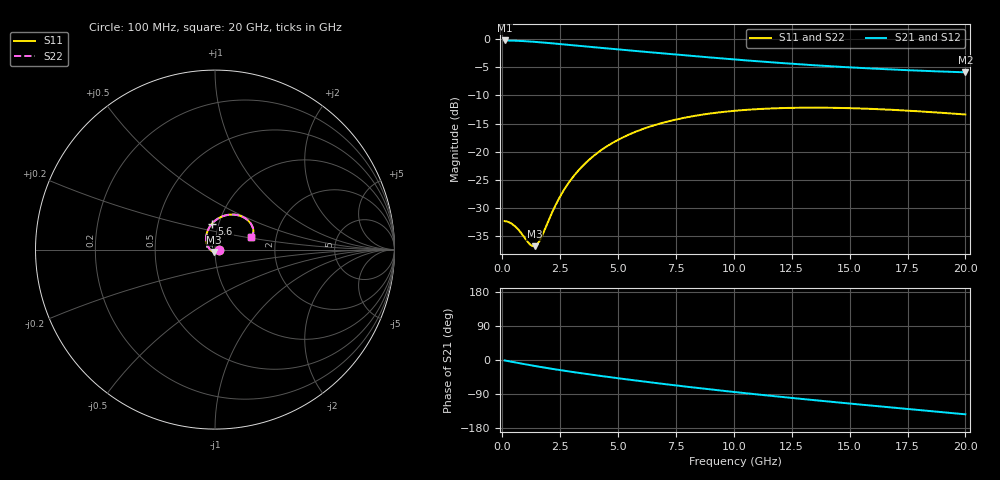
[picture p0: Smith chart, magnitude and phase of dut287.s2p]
! Created with skrf 1.9.0 (http://scikit-rf.org).
# GHz S RI R 50.0
!freq ReS11 ImS11 ReS21 ImS21 ReS12 ImS12 ReS22 ImS22
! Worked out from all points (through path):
!   200 points, 100 MHz to 20 GHz, reference 50 ohm
!   highest |S21| = -0.21 dB at 100 MHz (marker M1); lowest = -5.9 dB at 20 GHz (marker M2)
!   group delay of S21, straight-line fit = 19.1 ps
!   lowest |S11| = -36.8 dB at 1.4 GHz (marker M3), VSWR 1.03, Z = 49.5 - j1.35 ohm
!   |S11| at or under -10 dB: start of sweep to end of sweep
!   |S22| runs from -36.8 to -12.2 dB; largest |S21 - S12| = 2.4e-15
!   S11 on the Smith chart (normalised r, x): 100 MHz: 1.05, -0.01; 5.6 GHz: 0.93, +0.28; 20 GHz: 1.49, +0.22
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0.1  0.024 -0.00253  0.9755 -0.0193  0.9755 -0.0193  0.024 -0.00253
0.3  0.0227 -0.00615  0.9724 -0.0591  0.9724 -0.0591  0.0227 -0.00615
0.5  0.02 -0.00962  0.9667 -0.098  0.9667 -0.098  0.02 -0.00962
0.7  0.016 -0.0124  0.9584 -0.1358  0.9584 -0.1358  0.016 -0.0124
1.2  0.00184 -0.0149  0.928 -0.2245  0.928 -0.2245  0.00184 -0.0149
1.4  -0.00475 -0.0137  0.9127 -0.2572  0.9127 -0.2572  -0.00475 -0.0137
1.6  -0.0115 -0.0112  0.896 -0.2882  0.896 -0.2882  -0.0115 -0.0112
2.2  -0.0301 0.00339  0.8399 -0.3711  0.8399 -0.3711  -0.0301 0.00339
2.6  -0.0397 0.0178  0.7993 -0.4185  0.7993 -0.4185  -0.0397 0.0178
3  -0.0462 0.0346  0.7574 -0.4604  0.7574 -0.4604  -0.0462 0.0346
3.5  -0.0496 0.0574  0.704 -0.5059  0.704 -0.5059  -0.0496 0.0574
3.9  -0.0486 0.076  0.6608 -0.5375  0.6608 -0.5375  -0.0486 0.076
4.4  -0.0433 0.0986  0.6067 -0.5715  0.6067 -0.5715  -0.0433 0.0986
5  -0.032 0.1234  0.542 -0.6051  0.542 -0.6051  -0.032 0.1234
5.6  -0.0164 0.145  0.4779 -0.6314  0.4779 -0.6314  -0.0164 0.145
6.8  0.0225 0.1764  0.3534 -0.6649  0.3534 -0.6649  0.0225 0.1764
8.3  0.0754 0.194  0.2091 -0.6762  0.2091 -0.6762  0.0754 0.194
10.1  0.132 0.1906  0.0575 -0.6569  0.0575 -0.6569  0.132 0.1906
11.7  0.1701 0.1734  -0.0564 -0.6196  -0.0564 -0.6196  0.1701 0.1734
13.4  0.1967 0.1487  -0.1577 -0.5671  -0.1577 -0.5671  0.1967 0.1487
16.7  0.2139 0.1011  -0.3072 -0.444  -0.3072 -0.444  0.2139 0.1011
20  0.202 0.0719  -0.4075 -0.3035  -0.4075 -0.3035  0.202 0.0719
